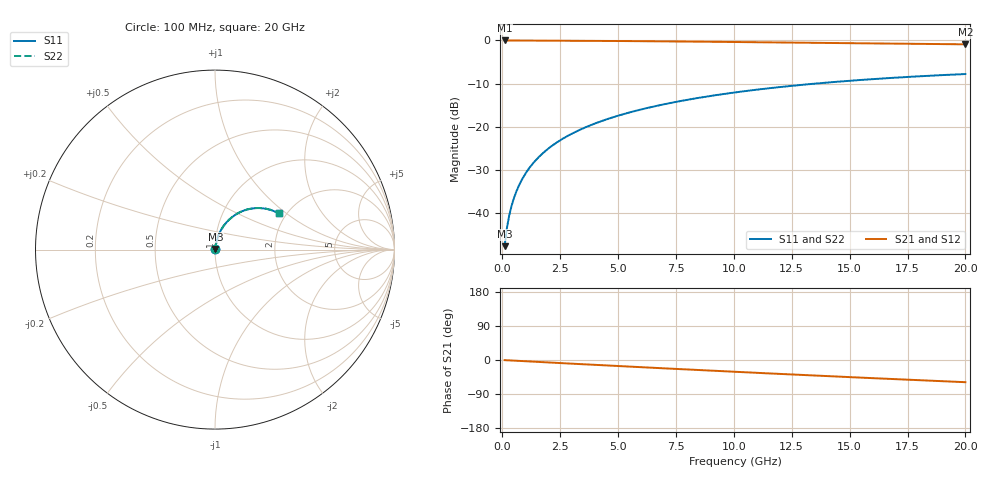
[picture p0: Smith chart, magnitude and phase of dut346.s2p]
! Touchstone file exported from HFSS 2026.1.0
!  File:  C:/ffzhzh/LocalFiles/Ansys_Project_Files/temp_train_BSMRDL_346_1783011306_4048.aedt
!  Generated:  12:56:44 AM Jul  3, 2026
!  Design:  BSMRDL
!  Project:  temp_train_BSMRDL_346_1783011306_4048
! Variables:
!  h_bsmrdl = 5.75um
!  h_ox = 20um
!  h_rdl = 5um
!  h_sub = 80um
!  h_tmrdl = 5um
!  h_tsv = 80um
!  h_via = 3um
!  l_bsmrdl = 964.89um
!  l_sub = 1364.89um
!  l_tmrdl = 200um
!  m_sub = 200um
!  pitch = 46.42um
!  r_tsv = 6um
!  s_tmrdl = 10um
!  w_bsmrdl = 23.45um
!  w_sub = 500um
!  w_tmrdl = 12um
!  x_tsv_center1 = 206um
!  x_tsv_center2 = 1194.34um
!  x_tsv_center3 = 1406.34um
!  x_tsv_center4 = 2394.68um
!  x_tsv_center5 = 2606.68um
!  x_tsv_center6 = 3595.02um
# GHz S MA R 50.000000
! Terminal data exported
! Port[1] = BSM_RDL1_1_T1
! Port[2] = BSM_RDL1_1_T2
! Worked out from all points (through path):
!   200 points, 100 MHz to 20 GHz, reference 50 ohm
!   highest |S21| = -0.02 dB at 100 MHz (marker M1); lowest = -0.9 dB at 20 GHz (marker M2)
!   group delay of S21, straight-line fit = 8.12 ps
!   lowest |S11| = -47.6 dB at 100 MHz (marker M3), VSWR 1.01, Z = 50.3 + j0.314 ohm
!   |S11| at or under -10 dB: start of sweep to 13.52 GHz
!   |S22| runs from -47.6 to -7.8 dB; largest |S21 - S12| = 1e-14
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0.1  0.004169 48.6  0.9973 -0.3  0.9973 -0.3  0.004169 48.6
! Gamma 0 0 0 0
! Port Impedance 50 0 50 0
0.2  0.006782 63.4  0.997 -0.7  0.997 -0.7  0.006782 63.4
0.3  0.009473 69.5  0.9968 -1.0  0.9968 -1.0  0.009473 69.5
0.4  0.01218 73.0  0.9967 -1.3  0.9967 -1.3  0.01218 73.0
0.5  0.01491 75.2  0.9965 -1.6  0.9965 -1.6  0.01491 75.2
0.7  0.02043 77.7  0.9963 -2.3  0.9963 -2.3  0.02043 77.7
0.8  0.0232 78.4  0.9962 -2.6  0.9962 -2.6  0.0232 78.4
1  0.02876 79.2  0.9959 -3.3  0.9959 -3.3  0.02876 79.2
1.2  0.03431 79.5  0.9955 -3.9  0.9955 -3.9  0.03431 79.5
1.4  0.03986 79.5  0.9951 -4.6  0.9951 -4.6  0.03986 79.5
1.7  0.04814 79.2  0.9945 -5.5  0.9945 -5.5  0.04814 79.2
2  0.05635 78.7  0.9937 -6.5  0.9937 -6.5  0.05635 78.7
2.7  0.07524 77.0  0.9916 -8.7  0.9916 -8.7  0.07524 77.0
3.5  0.09632 74.9  0.9888 -11.2  0.9888 -11.2  0.09632 74.9
4.2  0.1143 72.9  0.9862 -13.4  0.9862 -13.4  0.1143 72.9
5  0.1345 70.6  0.9829 -15.9  0.9829 -15.9  0.1345 70.7
6.8  0.178 65.5  0.9746 -21.4  0.9746 -21.4  0.178 65.6
8.3  0.2123 61.3  0.9669 -25.9  0.9669 -25.9  0.2123 61.3
10.1  0.251 56.2  0.9569 -31.3  0.9569 -31.3  0.251 56.3
13.4  0.3141 47.1  0.9372 -40.7  0.9372 -40.7  0.3141 47.2
16.7  0.3664 38.2  0.9177 -49.8  0.9177 -49.8  0.3664 38.3
20  0.4079 29.7  0.8999 -58.6  0.8999 -58.6  0.4079 29.8
